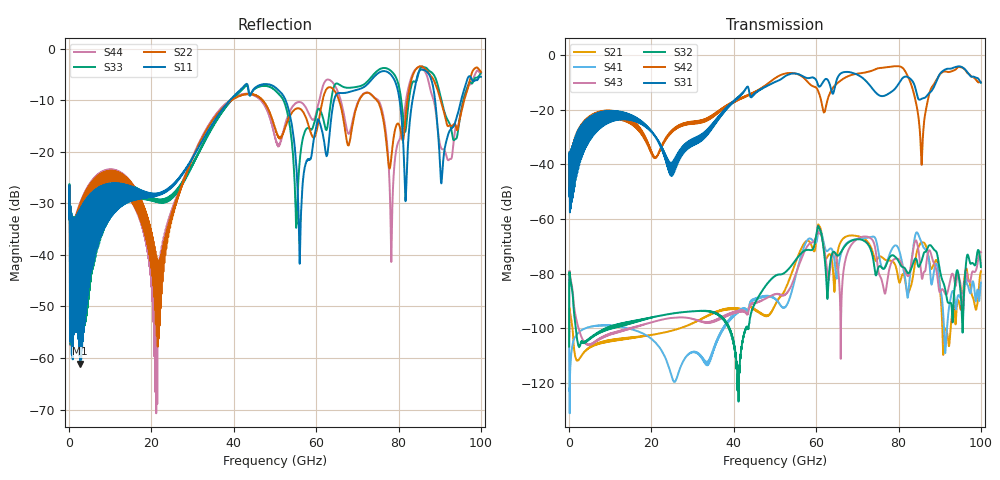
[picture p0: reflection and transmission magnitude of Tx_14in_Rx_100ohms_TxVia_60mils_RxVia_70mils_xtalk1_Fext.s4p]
! Info: Touchstone file created by Circ.  Input file=Tx_14in_Rx_100ohms_TxVia_60mils_RxVia_70mils.circ
# Hz S RI R 50
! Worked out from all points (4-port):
!   10000 points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, 10 MHz to 100 GHz, reference 50 ohm
!   strongest paths, dB at 10 MHz, 25.01 GHz, 50.01 GHz, 75.01 GHz, 100 GHz:
!     S31: -51.7, -41.7, -9.9, -14.5, -10.2
!     S42: -51.2, -27.5, -8.5, -4.9, -10.0
!     S32: -106.6, -94.5, -80.8, -78.1, -77.5
!     S43: -102.7, -96.1, -87.4, -78.2, -72.1
!     S41: -93.9, -118.0, -89.3, -71.0, -83.2
!     S21: -96.5, -100.8, -91.4, -74.2, -79.1
!   lowest |S11| = -61.1 dB at 2.7 GHz (marker M1), VSWR 1.00, Z = 49.9 + j0.015 ohm
!   |S11| at or under -10 dB: start of sweep to 39.07 GHz; 52.55 GHz to 64.35 GHz (11.8 GHz wide, 20.2 % of centre); 88.87 GHz to 95.21 GHz (6.337 GHz wide, 6.88 % of centre)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
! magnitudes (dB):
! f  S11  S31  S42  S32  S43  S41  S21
! 10 MHz  -32.9  -51.7  -51.2  -106.6  -102.7  -93.9  -96.5
! 2.7 GHz  -61.1  -36.8  -34.1  -106.2  -101.8  -101.0  -110.6
! 21.15 GHz  -28.4  -30.3  -37.5  -95.6  -97.3  -105.4  -102.1
! 62.88 GHz  -19.5  -9.3  -15.9  -85.9  -81.8  -71.5  -73.4
! 78.28 GHz  -5.2  -13.5  -4.3  -73.3  -75.9  -71.3  -75.3
! 85.59 GHz  -4.1  -16.1  -40.1  -75.4  -81.1  -68.5  -68.4
! 100 GHz  -5.5  -10.2  -10.0  -77.5  -72.1  -83.2  -79.1
